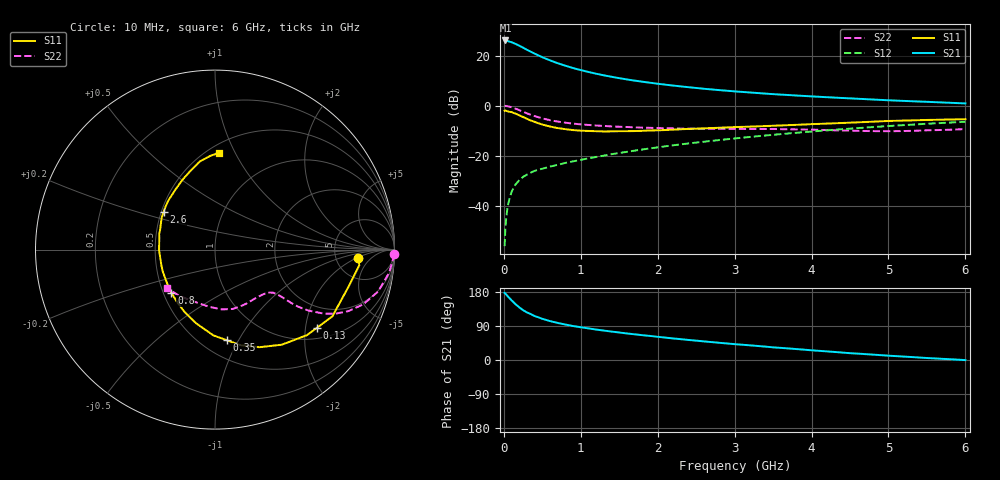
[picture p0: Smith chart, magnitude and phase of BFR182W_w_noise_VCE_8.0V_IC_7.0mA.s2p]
! Infineon Technologies  Discrete & RF Semiconductors
! BFR182W
! VCE =  8.0 V,  IC =  7.0 mA
! Common Emitter S-Parameters:  Jan 2017
# GHz  S  MA  R  50
!  f  S11  S21  S12  S22
! GHz  MAG  ANG  MAG  ANG  MAG  ANG  MAG  ANG
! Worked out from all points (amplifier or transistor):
!   77 points, 10 MHz to 6 GHz, reference 50 ohm
!   highest |S21| = 26.0 dB at 20 MHz (marker M1)
!   |S21| within 3 dB of that: start of sweep to 257.7 MHz
!   unconditionally stable (mu >= 1): 1.216 GHz to 2.746 GHz
!   at 130 MHz: K = 0.22, MSG = 28.7 dB, |S12| = -32.5 dB
!   at 2.2 GHz: K = 1.03, MAG = 10.8 dB, |S12| = -15.8 dB
!   at 6 GHz: K = 0.84, MSG = 3.7 dB, |S12| = -6.4 dB
!   lowest NFmin = 0.95 dB at 450 MHz
!   S11 on the Smith chart (normalised r, x): 10 MHz: 8.41, -2.07; 130 MHz: 1.30, -2.32; 350 MHz: 0.66, -0.89; 800 MHz: 0.55, -0.30; 2.6 GHz: 0.51, +0.25; 6 GHz: 0.57, +0.87
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0.01  0.7985 -3.2  19.85 177.2  0.0016 85.7  0.9979 -1.5
0.02  0.8089 -6.2  19.99 175.1  0.0036 95.6  0.9928 -3.2
0.05  0.7735 -15.1  19.46 168.3  0.0097 81.9  0.979 -7.6
0.1  0.7523 -29.6  18.5 157.4  0.0191 75.7  0.9374 -14.5
0.13  0.7161 -37.4  17.62 151.7  0.0238 71.6  0.9019 -17.9
0.15  0.6999 -42.9  17.14 147.6  0.0269 69.6  0.8801 -20.3
0.2  0.6476 -54.9  15.72 139.0  0.033 67.2  0.8193 -24.7
0.25  0.5972 -65.6  14.36 131.5  0.0384 62.4  0.7604 -28.0
0.3  0.5498 -75.3  13.03 125.6  0.0425 60.1  0.7055 -30.4
0.35  0.509 -82.6  11.94 121.2  0.0465 58.7  0.6637 -31.7
0.4  0.478 -91.1  10.94 115.9  0.0506 57.5  0.6223 -33.1
0.5  0.4236 -104.5  9.267 108.6  0.0558 57.2  0.5606 -34.5
0.6  0.3864 -116.1  8.024 102.7  0.0614 57.0  0.5167 -35.0
0.8  0.3422 -135.1  6.275 93.5  0.0728 58.7  0.46 -35.3
1.1  0.3152 -157.8  4.711 83.4  0.0899 61.0  0.4151 -36.1
1.5  0.3117 -179.3  3.549 72.6  0.1148 62.9  0.3823 -39.0
2.1  0.3288 157.6  2.635 59.1  0.1558 63.0  0.357 -47.2
2.6  0.3551 143.7  2.182 49.1  0.1923 61.7  0.3482 -56.5
3.1  0.3802 131.8  1.887 40.3  0.2313 59.4  0.3455 -66.0
4.1  0.4361 113.0  1.509 24.2  0.3155 52.7  0.3313 -85.8
5.1  0.5026 98.3  1.268 10.2  0.4031 43.9  0.3126 -114.5
6  0.5411 87.5  1.114 -0.3  0.4801 34.9  0.3434 -140.9
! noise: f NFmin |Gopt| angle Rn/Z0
0.45  0.95  0.17  35  0.16
0.9  1.04  0.15  63  0.15
1.9  1.57  0.18  174  0.13
2.4  1.84  0.19  -178  0.18
